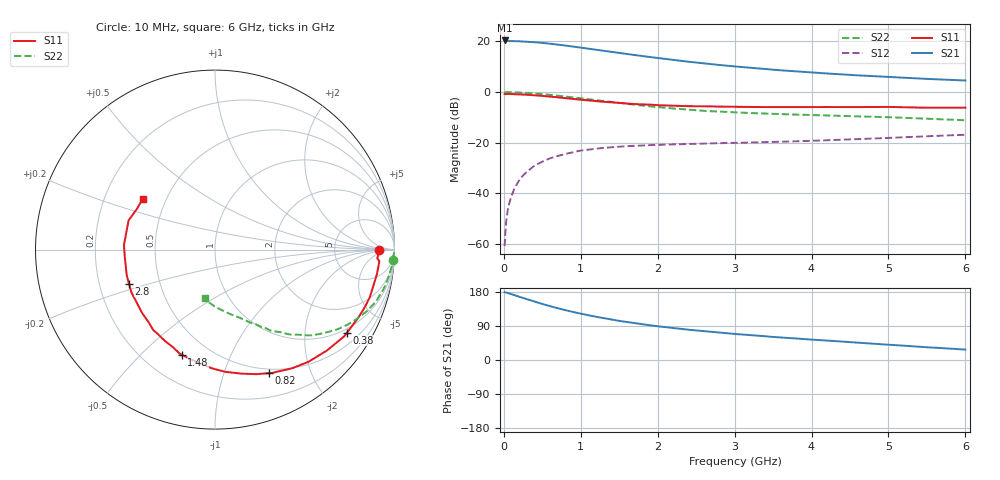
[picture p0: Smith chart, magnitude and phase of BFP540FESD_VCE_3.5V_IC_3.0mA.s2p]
! Infineon Technologies  Discrete & RF Semiconductors
! BFP540FESD
! VCE =  3.5 V,  IC =  3.0 mA
! Common Emitter S-Parameters:  Nov 2015
# GHz  S  MA  R  50
!  f  S11  S21  S12  S22
! GHz  MAG  ANG  MAG  ANG  MAG  ANG  MAG  ANG
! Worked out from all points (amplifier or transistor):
!   210 points, 10 MHz to 6 GHz, reference 50 ohm
!   highest |S21| = 20.4 dB at 10 MHz (marker M1)
!   |S21| within 3 dB of that: start of sweep to 1.043 GHz
!   unconditionally stable (mu >= 1): 3.148 GHz to end of sweep
!   at 185 MHz: K = 0.07, MSG = 27.8 dB, |S12| = -35.6 dB
!   at 1.52 GHz: K = 0.46, MSG = 18.5 dB, |S12| = -21.6 dB
!   at 6 GHz: K = 1.43, MAG = 6.8 dB, |S12| = -16.9 dB
!   S11 on the Smith chart (normalised r, x): 10 MHz: 23, -0; 380 MHz: 0.86, -3.25; 820 MHz: 0.45, -1.43; 1.48 GHz: 0.36, -0.67; 2.8 GHz: 0.33, -0.17; 6 GHz: 0.37, +0.28
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0.01  0.916 -0.1  10.45 178.9  0.0009 75.6  0.9952 -3.3
0.02  0.9056 -3.1  10.14 178.7  0.0017 80.4  0.997 -1.0
0.045  0.9161 -3.9  10.18 177.2  0.0041 82.5  0.9923 -2.1
0.105  0.9124 -8.7  10.17 173.3  0.0093 84.5  0.9915 -4.9
0.15  0.905 -13.4  10.17 170.4  0.0135 82.6  0.9856 -6.9
0.24  0.8954 -20.4  9.996 164.4  0.0216 78.0  0.973 -11.0
0.38  0.8687 -32.2  9.694 155.4  0.0333 72.8  0.9452 -17.1
0.5  0.8398 -42.0  9.395 147.9  0.0421 67.9  0.9129 -22.1
0.6  0.8138 -50.1  9.005 141.9  0.049 63.2  0.8815 -25.8
0.82  0.7515 -66.3  8.225 130.6  0.0608 55.7  0.8091 -33.5
1.02  0.7008 -79.4  7.479 121.5  0.0704 50.2  0.7456 -39.2
1.2  0.662 -91.4  6.829 113.9  0.0763 45.9  0.6899 -43.8
1.48  0.6142 -107.5  5.978 104.0  0.0828 40.4  0.6131 -49.8
1.78  0.5711 -122.4  5.19 94.8  0.0874 36.2  0.5461 -55.6
2.02  0.5474 -132.9  4.679 88.5  0.0907 33.8  0.5004 -59.2
2.4  0.5253 -147.0  3.97 79.9  0.0941 31.3  0.4508 -64.3
2.8  0.5156 -158.5  3.429 72.6  0.0978 30.1  0.4096 -69.2
3.1  0.5091 -166.0  3.111 67.3  0.0998 29.4  0.3901 -72.4
3.5  0.5042 -174.8  2.755 60.8  0.1029 28.7  0.3703 -76.5
4.1  0.5063 175.5  2.378 52.6  0.11 29.4  0.3473 -81.6
5.1  0.5038 159.7  1.953 39.1  0.1259 28.8  0.3136 -91.1
6  0.4914 144.8  1.69 27.5  0.1433 27.1  0.2773 -101.2
